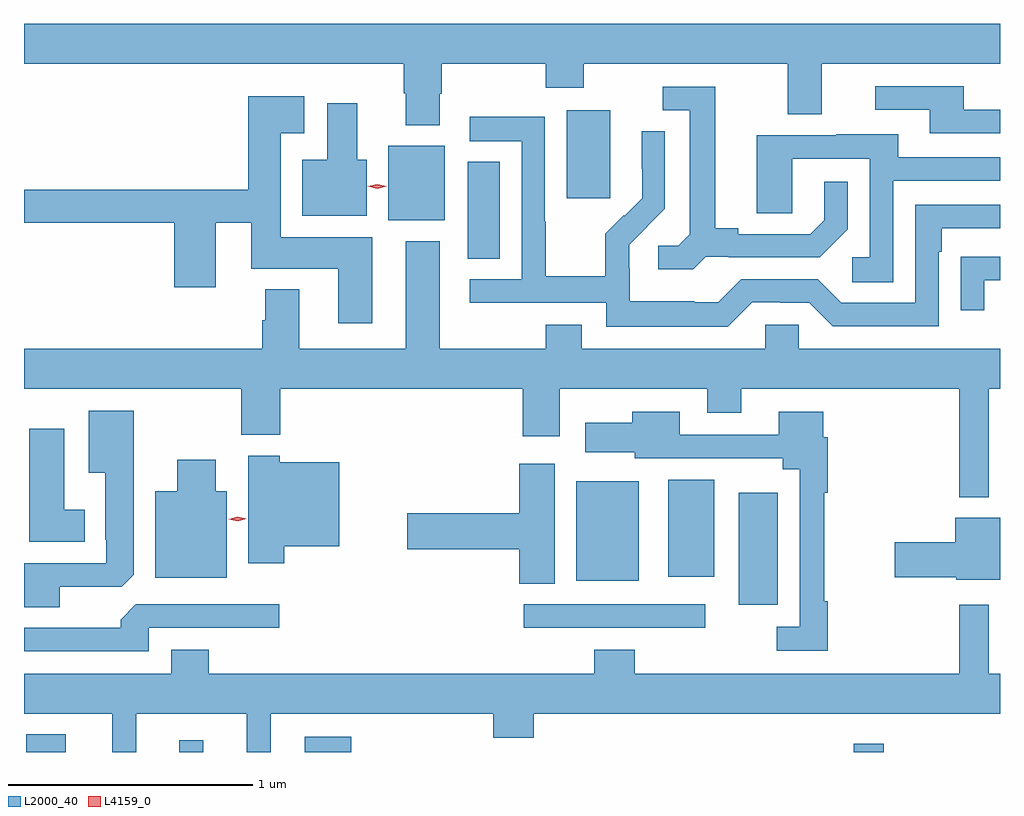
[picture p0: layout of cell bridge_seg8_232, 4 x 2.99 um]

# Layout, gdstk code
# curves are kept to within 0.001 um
import gdstk
lib = gdstk.Library(unit=1e-6, precision=1e-09)
def R(c, l, rs):  # rectangles x0, y0, x1, y1
    for r in rs: c.add(gdstk.rectangle(r[:2], r[2:], *l))
def P(c, l, *ps):  # polygons
    for p in ps: c.add(gdstk.Polygon(p, *l))
L2000_40 = (2000, 40)
L4159_0 = (4159, 0)

bridge_seg8_232 = lib.new_cell('bridge_seg8_232')
R(bridge_seg8_232, L2000_40, [(241.253,1123.002,241.414,1123.075), (241.88,1123.002,241.977,1123.051), (242.394,1123.002,242.584,1123.065), (244.644,1123.002,244.767,1123.036), (243.291,1123.512,244.036,1123.608), (244.172,1123.607,244.333,1124.065), (243.506,1123.706,243.763,1124.113), (243.884,1123.721,244.072,1124.119), (243.062,1125.025,243.193,1125.422), (242.735,1125.182,242.968,1125.487), (243.467,1125.273,243.646,1125.634)])
P(bridge_seg8_232, L2000_40, [(242.947,1125.7),(242.955,1125.7),(242.955,1125.824),(243.382,1125.824),(243.382,1125.725),(243.537,1125.725),(243.537,1125.824),(244.373,1125.824),(244.373,1125.616),(244.513,1125.616),(244.513,1125.824),(245.243,1125.824),(245.243,1125.988),(241.243,1125.988),(241.243,1125.824),(242.8,1125.824),(242.8,1125.704),(242.807,1125.704),(242.807,1125.572),(242.947,1125.572)],
  [(245.243,1125.636),(245.095,1125.636),(245.095,1125.732),(244.731,1125.732),(244.731,1125.636),(244.955,1125.636),(244.955,1125.54),(245.243,1125.54)],
  [(244.038,1125.033),(244.132,1125.033),(244.132,1125.03),(244.504,1125.03),(244.62,1125.146),(244.62,1125.34),(244.523,1125.34),(244.523,1125.183),(244.466,1125.126),(244.171,1125.126),(244.171,1125.149),(244.075,1125.149),(244.075,1125.729),(243.861,1125.729),(243.861,1125.633),(243.971,1125.633),(243.971,1125.125),(243.924,1125.078),(243.843,1125.078),(243.843,1124.981),(243.986,1124.981)],
  [(242.671,1125.112),(242.296,1125.112),(242.296,1125.539),(242.392,1125.539),(242.392,1125.691),(242.162,1125.691),(242.162,1125.308),(241.243,1125.308),(241.243,1125.172),(241.859,1125.172),(241.859,1124.907),(242.029,1124.907),(242.029,1125.172),(242.174,1125.172),(242.174,1124.984),(242.531,1124.984),(242.531,1124.76),(242.671,1124.76)],
  [(242.647,1125.43),(242.608,1125.43),(242.608,1125.661),(242.486,1125.661),(242.486,1125.43),(242.384,1125.43),(242.384,1125.2),(242.647,1125.2)],
  [(244.227,1124.847),(244.343,1124.847),(244.343,1124.844),(244.461,1124.844),(244.557,1124.748),(244.992,1124.748),(244.992,1125.053),(245.005,1125.053),(245.005,1125.15),(245.243,1125.15),(245.243,1125.246),(244.896,1125.246),(244.896,1124.844),(244.593,1124.844),(244.497,1124.94),(244.182,1124.94),(244.089,1124.847),(243.989,1124.847),(243.989,1124.851),(243.726,1124.851),(243.726,1124.985),(243.724,1124.985),(243.724,1125.082),(243.87,1125.23),(243.87,1125.548),(243.774,1125.548),(243.774,1125.394),(243.776,1125.394),(243.776,1125.272),(243.705,1125.201),(243.702,1125.204),(243.625,1125.127),(243.625,1124.953),(243.381,1124.953),(243.381,1125.176),(243.378,1125.176),(243.378,1125.606),(243.069,1125.606),(243.069,1125.507),(243.282,1125.507),(243.282,1124.94),(243.069,1124.94),(243.069,1124.844),(243.63,1124.844),(243.63,1124.747),(244.127,1124.747)],
  [(244.806,1125.345),(245.243,1125.345),(245.243,1125.441),(244.825,1125.441),(244.825,1125.535),(244.571,1125.535),(244.571,1125.531),(244.247,1125.531),(244.247,1125.211),(244.392,1125.211),(244.392,1125.435),(244.71,1125.435),(244.71,1125.03),(244.638,1125.03),(244.638,1124.929),(244.806,1124.929)],
  [(245.197,1124.492),(245.243,1124.492),(245.243,1124.656),(244.419,1124.656),(244.419,1124.754),(244.281,1124.754),(244.281,1124.656),(243.529,1124.656),(243.529,1124.755),(243.382,1124.755),(243.382,1124.656),(242.947,1124.656),(242.947,1125.097),(242.807,1125.097),(242.807,1124.656),(242.371,1124.656),(242.371,1124.899),(242.231,1124.899),(242.231,1124.772),(242.219,1124.772),(242.219,1124.656),(241.243,1124.656),(241.243,1124.492),(242.134,1124.492),(242.134,1124.303),(242.294,1124.303),(242.294,1124.492),(243.287,1124.492),(243.287,1124.298),(243.439,1124.298),(243.439,1124.492),(244.043,1124.492),(244.043,1124.393),(244.183,1124.393),(244.183,1124.492),(245.076,1124.492),(245.076,1124.048),(245.197,1124.048)],
  [(245.179,1124.937),(245.243,1124.937),(245.243,1125.033),(245.185,1125.033),(245.185,1125.032),(245.083,1125.032),(245.083,1124.814),(245.179,1124.814)],
  [(241.39,1123.68),(241.644,1123.68),(241.693,1123.729),(241.693,1124.401),(241.508,1124.401),(241.508,1124.147),(241.577,1124.147),(241.577,1123.873),(241.581,1123.873),(241.581,1123.776),(241.243,1123.776),(241.243,1123.597),(241.39,1123.597)],
  [(244.538,1123.622),(244.523,1123.622),(244.523,1124.066),(244.538,1124.066),(244.538,1124.294),(244.519,1124.294),(244.519,1124.398),(244.337,1124.398),(244.337,1124.304),(243.931,1124.304),(243.931,1124.398),(243.736,1124.398),(243.736,1124.353),(243.543,1124.353),(243.543,1124.231),(243.747,1124.231),(243.747,1124.208),(244.352,1124.208),(244.352,1124.162),(244.422,1124.162),(244.422,1123.516),(244.329,1123.516),(244.329,1123.419),(244.538,1123.419)],
  [(241.492,1123.996),(241.408,1123.996),(241.408,1124.329),(241.265,1124.329),(241.265,1123.865),(241.492,1123.865)],
  [(242.309,1123.847),(242.536,1123.847),(242.536,1124.191),(242.292,1124.191),(242.292,1124.218),(242.162,1124.218),(242.162,1123.776),(242.309,1123.776)],
  [(242.074,1124.071),(242.029,1124.071),(242.029,1124.2),(241.871,1124.2),(241.871,1124.071),(241.781,1124.071),(241.781,1123.718),(242.074,1123.718)],
  [(243.418,1124.185),(243.272,1124.185),(243.272,1123.982),(242.814,1123.982),(242.814,1123.835),(243.272,1123.835),(243.272,1123.693),(243.418,1123.693)],
  [(245.243,1123.963),(245.06,1123.963),(245.06,1123.862),(244.812,1123.862),(244.812,1123.72),(245.064,1123.72),(245.064,1123.709),(245.243,1123.709)],
  [(241.755,1123.512),(242.29,1123.512),(242.29,1123.608),(241.701,1123.608),(241.64,1123.546),(241.64,1123.512),(241.243,1123.512),(241.243,1123.416),(241.755,1123.416)],
  [(241.703,1123.16),(242.156,1123.16),(242.156,1123.002),(242.254,1123.002),(242.254,1123.16),(243.167,1123.16),(243.167,1123.061),(243.332,1123.061),(243.332,1123.16),(245.243,1123.16),(245.243,1123.324),(245.197,1123.324),(245.197,1123.606),(245.076,1123.606),(245.076,1123.324),(243.746,1123.324),(243.746,1123.423),(243.581,1123.423),(243.581,1123.324),(242,1123.324),(242,1123.423),(241.847,1123.423),(241.847,1123.324),(241.243,1123.324),(241.243,1123.16),(241.604,1123.16),(241.604,1123.002),(241.703,1123.002)])
P(bridge_seg8_232, L4159_0, [(242.118,1123.948),(242.082,1123.958),(242.082,1123.958),(242.082,1123.958),(242.118,1123.968),(242.154,1123.959),(242.154,1123.959),(242.154,1123.959)],
  [(242.691,1125.311),(242.652,1125.321),(242.652,1125.321),(242.652,1125.321),(242.691,1125.331),(242.729,1125.321),(242.73,1125.321),(242.729,1125.321)])

lib.write_gds('bridge_seg8_232.gds')
